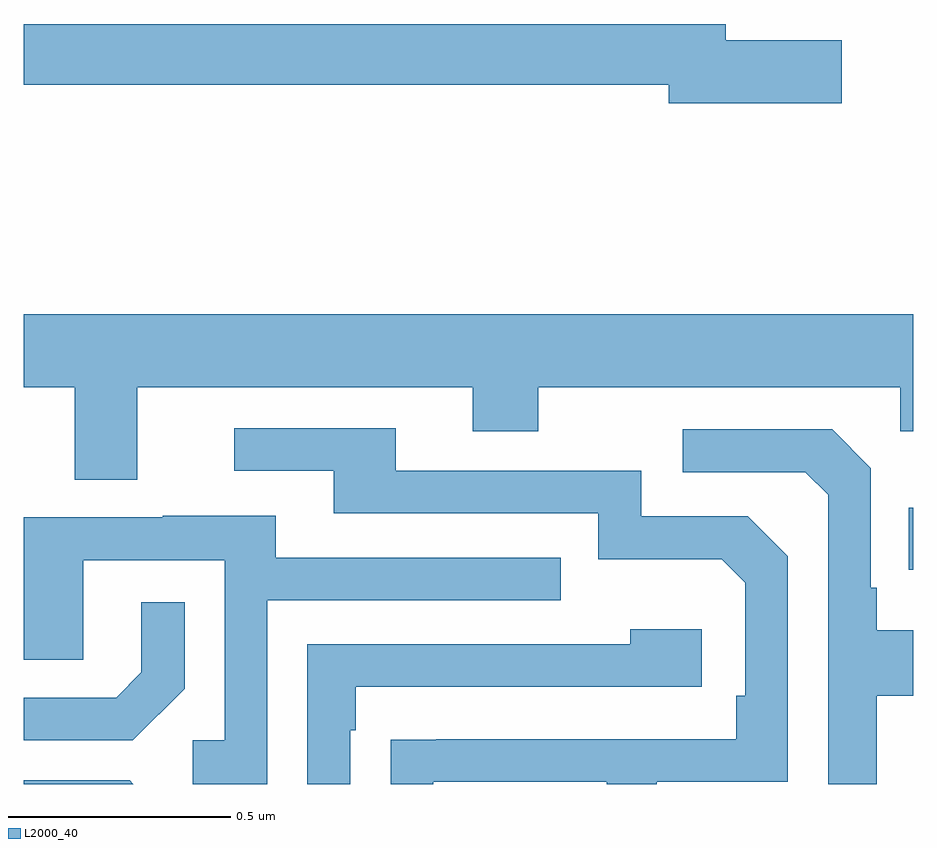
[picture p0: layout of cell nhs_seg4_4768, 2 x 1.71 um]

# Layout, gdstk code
import gdstk
lib = gdstk.Library(unit=1e-6, precision=1e-09)
def R(c, l, rs):  # rectangles x0, y0, x1, y1
    for r in rs: c.add(gdstk.rectangle(r[:2], r[2:], *l))
def P(c, l, *ps):  # polygons
    for p in ps: c.add(gdstk.Polygon(p, *l))
L2000_40 = (2000, 40)

nhs_seg4_4768 = lib.new_cell('nhs_seg4_4768')
R(nhs_seg4_4768, L2000_40, [(170.989,824.381,171,824.521)])
P(nhs_seg4_4768, L2000_40, [(170.839,825.572),(170.578,825.572),(170.578,825.608),(169,825.608),(169,825.472),(170.45,825.472),(170.45,825.43),(170.839,825.43)],
  [(169.255,824.792),(170.009,824.792),(170.009,824.693),(170.157,824.693),(170.157,824.792),(170.97,824.792),(170.97,824.693),(171,824.693),(171,824.956),(169,824.956),(169,824.792),(169.115,824.792),(169.115,824.584),(169.255,824.584)],
  [(169.921,823.905),(170.311,823.905),(170.311,823.9),(170.423,823.9),(170.423,823.905),(170.718,823.905),(170.718,824.412),(170.628,824.502),(170.388,824.502),(170.388,824.604),(169.837,824.604),(169.837,824.7),(169.473,824.7),(169.473,824.604),(169.697,824.604),(169.697,824.508),(170.292,824.508),(170.292,824.405),(170.569,824.405),(170.622,824.352),(170.622,824.098),(170.602,824.098),(170.602,824.001),(169.927,824.001),(169.927,824),(169.825,824),(169.825,823.9),(169.921,823.9)],
  [(170.917,824.098),(171,824.098),(171,824.245),(170.917,824.245),(170.917,824.341),(170.904,824.341),(170.904,824.61),(170.817,824.697),(170.481,824.697),(170.481,824.601),(170.757,824.601),(170.808,824.55),(170.808,823.9),(170.917,823.9)],
  [(169.548,824.313),(170.207,824.313),(170.207,824.409),(169.567,824.409),(169.567,824.503),(169.313,824.503),(169.313,824.499),(169,824.499),(169,824.179),(169.134,824.179),(169.134,824.403),(169.452,824.403),(169.452,823.998),(169.38,823.998),(169.38,823.9),(169.548,823.9)],
  [(169.362,824.114),(169.362,824.308),(169.265,824.308),(169.265,824.151),(169.208,824.094),(169,824.094),(169,823.998),(169.246,823.998)],
  [(169.734,824.021),(169.747,824.021),(169.747,824.118),(170.524,824.118),(170.524,824.248),(170.363,824.248),(170.363,824.214),(169.638,824.214),(169.638,823.9),(169.734,823.9)],
  [(169.239,823.908),(169,823.908),(169,823.9),(169.247,823.9)])

lib.write_gds('nhs_seg4_4768.gds')
